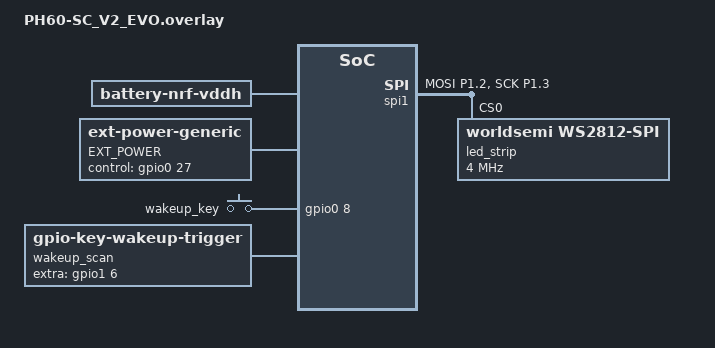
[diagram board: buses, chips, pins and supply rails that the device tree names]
/*
 * Copyright (c) 2025 Team PHDesign
 *
 * SPDX-License-Identifier: MIT
 */

#include "PH60-SC_V2_EVO.dtsi"
#include "PH60-SC_V2_EVO-lis2dh.dtsi"
#include <dt-bindings/led/led.h>

&pinctrl {
	spi1_default: spi1_default {
		group1 {
				psels = <NRF_PSEL(SPIM_MOSI, 1, 2) NRF_PSEL(SPIM_SCK, 1, 3)>;
		};
	};

	spi1_sleep: spi1_sleep {
		group1 {
				psels = <NRF_PSEL(SPIM_MOSI, 1, 2) NRF_PSEL(SPIM_SCK, 1, 3)>;
			low-power-enable;
		};
	};
};

&spi1 {
	compatible = "nordic,nrf-spim";
	status = "okay";

	pinctrl-0 = <&spi1_default>;
	pinctrl-1 = <&spi1_sleep>;
	pinctrl-names = "default", "sleep";

	led_strip: ws2812@0 {
		compatible = "worldsemi,ws2812-spi";

		/* SPI */
		reg = <0>; /* ignored, but necessary for SPI bindings */
		spi-max-frequency = <4000000>;

		/* WS2812 */
		chain-length = <61>; /* 61 keys, each with one RGB LED */
		spi-one-frame = <0x70>;
		spi-zero-frame = <0x40>;
		color-mapping = <LED_COLOR_ID_GREEN
				 LED_COLOR_ID_RED
				 LED_COLOR_ID_BLUE>;
	};
};

/ {
	chosen {
		zmk,battery = &vddh;
		zmk,underglow = &led_strip;
		zmk,ext-power = &rgb_power;
	};

	vddh: vddh {
		compatible = "zmk,battery-nrf-vddh";
	};

	rgb_power: ext-power {
		compatible = "zmk,ext-power-generic";
		label = "EXT_POWER";
		status = "okay";
		init-delay-ms = <50>;
		control-gpios = <&gpio0 27 GPIO_ACTIVE_HIGH>;
	};

	keys {
		compatible = "gpio-keys";
		wakeup_key: wakeup_key {
			gpios = <&gpio0 8 (GPIO_ACTIVE_HIGH | GPIO_PULL_DOWN)>;  // Row 2
		};
	};

	wakeup_scan: wakeup_scan {
		compatible = "zmk,gpio-key-wakeup-trigger";
		trigger = <&wakeup_key>;
		wakeup-source;
		extra-gpios = <&gpio1 6 GPIO_ACTIVE_HIGH>;  // Column 12
	};

	soft_off_wakers {
		compatible = "zmk,soft-off-wakeup-sources";
		wakeup-sources = <&wakeup_scan>;
	};
};


